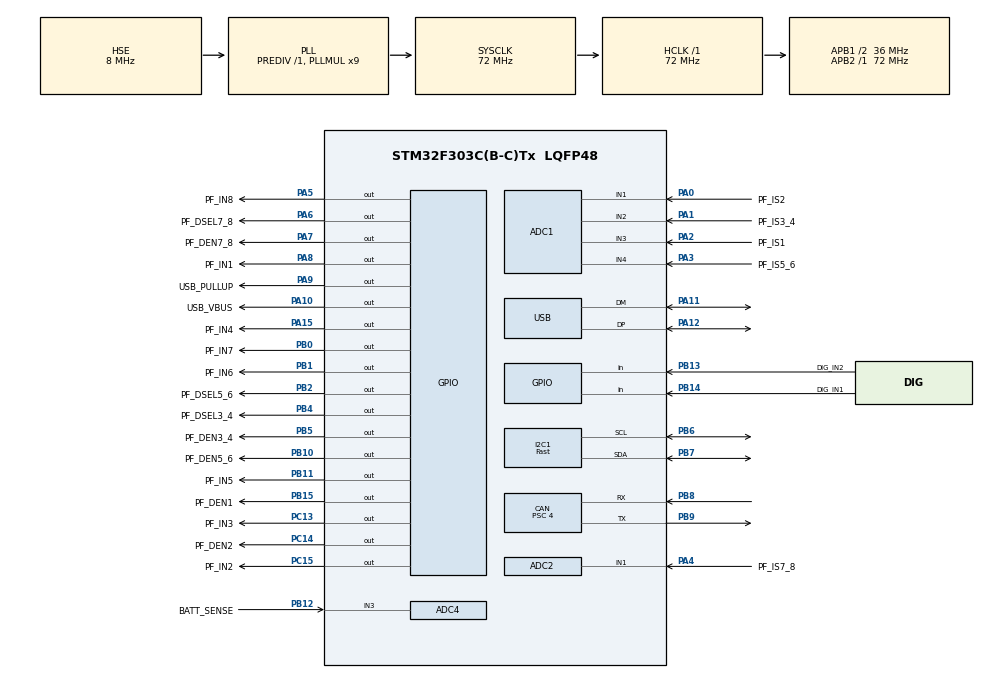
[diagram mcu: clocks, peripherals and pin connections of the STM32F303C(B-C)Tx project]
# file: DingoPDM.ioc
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ADC1.Channel-0\#ChannelRegularConversion=ADC_CHANNEL_1
ADC1.Channel-1\#ChannelRegularConversion=ADC_CHANNEL_2
ADC1.Channel-2\#ChannelRegularConversion=ADC_CHANNEL_3
ADC1.Channel-3\#ChannelRegularConversion=ADC_CHANNEL_TEMPSENSOR
ADC1.Channel-4\#ChannelRegularConversion=ADC_CHANNEL_VREFINT
ADC1.ClockPrescaler=ADC_CLOCK_SYNC_PCLK_DIV4
ADC1.ContinuousConvMode=ENABLE
ADC1.DMAContinuousRequests=ENABLE
ADC1.NbrOfConversion=5
ADC1.NbrOfConversionFlag=1
ADC1.Offset-0\#ChannelRegularConversion=0
ADC1.Offset-1\#ChannelRegularConversion=0
ADC1.Offset-2\#ChannelRegularConversion=0
ADC1.Offset-3\#ChannelRegularConversion=0
ADC1.Offset-4\#ChannelRegularConversion=0
ADC1.OffsetNumber-0\#ChannelRegularConversion=ADC_OFFSET_NONE
ADC1.OffsetNumber-1\#ChannelRegularConversion=ADC_OFFSET_NONE
ADC1.OffsetNumber-2\#ChannelRegularConversion=ADC_OFFSET_NONE
ADC1.OffsetNumber-3\#ChannelRegularConversion=ADC_OFFSET_NONE
ADC1.OffsetNumber-4\#ChannelRegularConversion=ADC_OFFSET_NONE
ADC1.Rank-0\#ChannelRegularConversion=1
ADC1.Rank-1\#ChannelRegularConversion=2
ADC1.Rank-2\#ChannelRegularConversion=3
ADC1.Rank-3\#ChannelRegularConversion=4
ADC1.Rank-4\#ChannelRegularConversion=5
ADC1.SamplingTime-0\#ChannelRegularConversion=ADC_SAMPLETIME_61CYCLES_5
ADC1.SamplingTime-1\#ChannelRegularConversion=ADC_SAMPLETIME_61CYCLES_5
ADC1.SamplingTime-2\#ChannelRegularConversion=ADC_SAMPLETIME_61CYCLES_5
ADC1.SamplingTime-3\#ChannelRegularConversion=ADC_SAMPLETIME_61CYCLES_5
ADC1.SamplingTime-4\#ChannelRegularConversion=ADC_SAMPLETIME_61CYCLES_5
ADC1.master=1
ADC2.Channel-0\#ChannelRegularConversion=ADC_CHANNEL_1
ADC2.ClockPrescaler=ADC_CLOCK_SYNC_PCLK_DIV4
ADC2.ContinuousConvMode=ENABLE
ADC2.DMAContinuousRequests=ENABLE
ADC2.NbrOfConversionFlag=1
ADC2.Offset-0\#ChannelRegularConversion=0
ADC2.OffsetNumber-0\#ChannelRegularConversion=ADC_OFFSET_NONE
ADC2.Rank-0\#ChannelRegularConversion=1
ADC2.SamplingTime-0\#ChannelRegularConversion=ADC_SAMPLETIME_61CYCLES_5
ADC2.SamplingTimeOPAMP-0\#ChannelRegularConversion=ADC_SAMPLETIME_7CYCLES_5
ADC4.Channel-0\#ChannelRegularConversion=ADC_CHANNEL_3
ADC4.ClockPrescaler=ADC_CLOCK_SYNC_PCLK_DIV4
ADC4.ContinuousConvMode=ENABLE
ADC4.DMAContinuousRequests=ENABLE
ADC4.NbrOfConversionFlag=1
ADC4.Offset-0\#ChannelRegularConversion=0
ADC4.OffsetNumber-0\#ChannelRegularConversion=ADC_OFFSET_NONE
ADC4.Rank-0\#ChannelRegularConversion=1
ADC4.SamplingTime-0\#ChannelRegularConversion=ADC_SAMPLETIME_601CYCLES_5
ADC4.SamplingTimeOPAMP-0\#ChannelRegularConversion=ADC_SAMPLETIME_4CYCLES_5
CAN.BS1=CAN_BS1_15TQ
CAN.BS2=CAN_BS2_2TQ
CAN.CalculateBaudRate=500000
CAN.CalculateTimeBit=2000
CAN.CalculateTimeQuantum=111.11111111111111
CAN.Prescaler=4
CAN.SJW=CAN_SJW_1TQ
Dma.ADC1.0.Direction=DMA_PERIPH_TO_MEMORY
Dma.ADC1.0.Instance=DMA1_Channel1
Dma.ADC1.0.MemDataAlignment=DMA_MDATAALIGN_HALFWORD
Dma.ADC1.0.MemInc=DMA_MINC_ENABLE
Dma.ADC1.0.Mode=DMA_CIRCULAR
Dma.ADC1.0.PeriphDataAlignment=DMA_PDATAALIGN_HALFWORD
Dma.ADC1.0.PeriphInc=DMA_PINC_DISABLE
Dma.ADC1.0.Priority=DMA_PRIORITY_LOW
Dma.ADC2.2.Direction=DMA_PERIPH_TO_MEMORY
Dma.ADC2.2.Instance=DMA2_Channel1
Dma.ADC2.2.MemDataAlignment=DMA_MDATAALIGN_HALFWORD
Dma.ADC2.2.MemInc=DMA_MINC_ENABLE
Dma.ADC2.2.Mode=DMA_CIRCULAR
Dma.ADC2.2.PeriphDataAlignment=DMA_PDATAALIGN_HALFWORD
Dma.ADC2.2.PeriphInc=DMA_PINC_DISABLE
Dma.ADC2.2.Priority=DMA_PRIORITY_LOW
Dma.ADC4.1.Direction=DMA_PERIPH_TO_MEMORY
Dma.ADC4.1.Instance=DMA2_Channel2
Dma.ADC4.1.MemDataAlignment=DMA_MDATAALIGN_HALFWORD
Dma.ADC4.1.MemInc=DMA_MINC_ENABLE
Dma.ADC4.1.Mode=DMA_CIRCULAR
Dma.ADC4.1.PeriphDataAlignment=DMA_PDATAALIGN_HALFWORD
Dma.ADC4.1.PeriphInc=DMA_PINC_DISABLE
Dma.ADC4.1.Priority=DMA_PRIORITY_LOW
Dma.Request0=ADC1
Dma.Request1=ADC4
Dma.Request2=ADC2
FREERTOS.HEAP_NUMBER=1
FREERTOS.Tasks01=defaultTask,24,320,StartDefaultTask,Default,NULL,Dynamic,NULL,NULL;canTxTask,25,320,StartCanTxTask,Default,NULL,Dynamic,NULL,NULL
FREERTOS.Timers01=KickIWDG,KickIWDGCallback,osTimerPeriodic,Default,NULL,Dynamic,NULL
FREERTOS.configTOTAL_HEAP_SIZE=6144
I2C1.Analog_Filter=I2C_ANALOGFILTER_ENABLE
I2C1.I2C_Fall_Time=300
I2C1.I2C_Rise_Time=300
I2C1.I2C_Speed_Mode=I2C_Fast
I2C1.Timing=0x10E8122C
IWDG.Prescaler=IWDG_PRESCALER_16
IWDG.Window=1596
Mcu.Family=STM32F3
Mcu.Name=STM32F303C(B-C)Tx
Mcu.Package=LQFP48
NVIC.DMA1_Channel1_IRQn=true\:5\:0\:false\:false\:true\:true\:false\:true\:true
NVIC.DMA2_Channel1_IRQn=true\:5\:0\:false\:false\:true\:true\:false\:true\:true
NVIC.DMA2_Channel2_IRQn=true\:5\:0\:false\:false\:true\:true\:false\:true\:true
NVIC.PriorityGroup=NVIC_PRIORITYGROUP_4
NVIC.TIM6_DAC_IRQn=true\:15\:0\:false\:false\:true\:false\:false\:true\:true
NVIC.TimeBase=TIM6_DAC_IRQn
NVIC.TimeBaseIP=TIM6
NVIC.USB_LP_CAN_RX0_IRQn=true\:5\:0\:false\:false\:true\:false\:true\:true\:true
NVIC.USB_LP_IRQn=true\:5\:0\:false\:false\:true\:true\:false\:true\:true
PA0.GPIO_Label=PF_IS2
PA0.Mode=IN1-Single-Ended
PA0.Signal=ADC1_IN1
PA1.GPIO_Label=PF_IS3_4
PA1.Mode=IN2-Single-Ended
PA1.Signal=ADC1_IN2
PA10.GPIO_Label=USB_VBUS
PA10.GPIO_PuPd=GPIO_PULLDOWN
PA10.Signal=GPIO_Output
PA11.Mode=Device
PA11.Signal=USB_DM
PA12.Mode=Device
PA12.Signal=USB_DP
PA13.Mode=Trace_Asynchronous_SW
PA13.Signal=SYS_JTMS-SWDIO
PA14.Mode=Trace_Asynchronous_SW
PA14.Signal=SYS_JTCK-SWCLK
PA15.GPIO_Label=PF_IN4
PA15.GPIO_PuPd=GPIO_PULLDOWN
PA15.Signal=GPIO_Output
PA2.GPIO_Label=PF_IS1
PA2.Mode=IN3-Single-Ended
PA2.Signal=ADC1_IN3
PA3.GPIO_Label=PF_IS5_6
PA3.Mode=IN4-Single-Ended
PA3.Signal=ADC1_IN4
PA4.GPIO_Label=PF_IS7_8
PA4.Mode=IN1-Single-Ended
PA4.Signal=ADC2_IN1
PA5.GPIO_Label=PF_IN8
PA5.GPIO_PuPd=GPIO_PULLDOWN
PA5.Signal=GPIO_Output
PA6.GPIO_Label=PF_DSEL7_8
PA6.GPIO_PuPd=GPIO_PULLDOWN
PA6.Signal=GPIO_Output
PA7.GPIO_Label=PF_DEN7_8
PA7.GPIO_PuPd=GPIO_PULLDOWN
PA7.Signal=GPIO_Output
PA8.GPIO_Label=PF_IN1
PA8.Signal=GPIO_Output
PA9.GPIO_Label=USB_PULLUP
PA9.GPIO_PuPd=GPIO_PULLDOWN
PA9.Signal=GPIO_Output
PB0.GPIO_Label=PF_IN7
PB0.GPIO_PuPd=GPIO_PULLDOWN
PB0.Signal=GPIO_Output
PB1.GPIO_Label=PF_IN6
PB1.GPIO_PuPd=GPIO_PULLDOWN
PB1.Signal=GPIO_Output
PB10.GPIO_Label=PF_DEN5_6
PB10.GPIO_PuPd=GPIO_PULLDOWN
PB10.Signal=GPIO_Output
PB11.GPIO_Label=PF_IN5
PB11.GPIO_PuPd=GPIO_PULLDOWN
PB11.Signal=GPIO_Output
PB12.GPIO_Label=BATT_SENSE
PB12.Mode=IN3-Single-Ended
PB12.Signal=ADC4_IN3
PB13.GPIO_Label=DIG_IN2
PB13.GPIO_PuPd=GPIO_PULLUP
PB13.Signal=GPIO_Input
PB14.GPIO_Label=DIG_IN1
PB14.GPIO_PuPd=GPIO_PULLUP
PB14.Signal=GPIO_Input
PB15.GPIO_Label=PF_DEN1
PB15.GPIO_PuPd=GPIO_PULLDOWN
PB15.Signal=GPIO_Output
PB2.GPIO_Label=PF_DSEL5_6
PB2.GPIO_PuPd=GPIO_PULLDOWN
PB2.Signal=GPIO_Output
PB3.Mode=Trace_Asynchronous_SW
PB3.Signal=SYS_JTDO-TRACESWO
PB4.GPIO_Label=PF_DSEL3_4
PB4.GPIO_PuPd=GPIO_PULLDOWN
PB4.Signal=GPIO_Output
PB5.GPIO_Label=PF_DEN3_4
PB5.GPIO_PuPd=GPIO_PULLDOWN
PB5.Signal=GPIO_Output
PB6.GPIO_Pu=GPIO_PULLUP
PB6.Mode=I2C
PB6.Signal=I2C1_SCL
PB7.GPIO_Pu=GPIO_PULLUP
PB7.Mode=I2C
PB7.Signal=I2C1_SDA
PB8.Mode=CAN_Activate
PB8.Signal=CAN_RX
PB9.Mode=CAN_Activate
PB9.Signal=CAN_TX
PC13.GPIO_Label=PF_IN3
PC13.GPIO_PuPd=GPIO_PULLDOWN
PC13.Signal=GPIO_Output
PC14-OSC32_IN.GPIO_Label=PF_DEN2
PC14-OSC32_IN.GPIO_PuPd=GPIO_PULLDOWN
PC14-OSC32_IN.Signal=GPIO_Output
PC15-OSC32_OUT.GPIO_Label=PF_IN2
PC15-OSC32_OUT.GPIO_PuPd=GPIO_NOPULL
PC15-OSC32_OUT.Signal=GPIO_Output
PF0-OSC_IN.Mode=HSE-External-Oscillator
PF0-OSC_IN.Signal=RCC_OSC_IN
PF1-OSC_OUT.Mode=HSE-External-Oscillator
PF1-OSC_OUT.Signal=RCC_OSC_OUT
ProjectManager.HeapSize=0x200
ProjectManager.StackSize=0x400
ProjectManager.TargetToolchain=STM32CubeIDE
RCC.AHBFreq_Value=72000000
RCC.APB1CLKDivider=RCC_HCLK_DIV2
RCC.APB1Freq_Value=36000000
RCC.APB1TimFreq_Value=72000000
RCC.APB2Freq_Value=72000000
RCC.APB2TimFreq_Value=72000000
RCC.CortexFreq_Value=72000000
RCC.HCLKFreq_Value=72000000
RCC.HSE_VALUE=8000000
RCC.HSI_VALUE=8000000
RCC.I2c1ClockSelection=RCC_I2C1CLKSOURCE_SYSCLK
RCC.I2c2ClockSelection=RCC_I2C2CLKSOURCE_SYSCLK
RCC.LSE_VALUE=32768
RCC.PLLMUL=RCC_PLL_MUL9
RCC.PRESCALERUSB=RCC_USBCLKSOURCE_PLL_DIV1_5
RCC.RCC_MCOSource=RCC_MCO1SOURCE_HSE
RCC.RTCClockSelection=RCC_RTCCLKSOURCE_LSE
RCC.SYSCLKFreq_VALUE=72000000
RCC.SYSCLKSourceVirtual=RCC_SYSCLKSOURCE_PLLCLK
RCC.USBFreq_Value=48000000
USB_DEVICE.CLASS_NAME_FS=CDC
USB_DEVICE.VirtualMode=Cdc
USB_DEVICE.VirtualModeFS=Cdc_FS
VP_ADC1_TempSens_Input.Mode=IN-TempSens
VP_ADC1_Vref_Input.Mode=IN-Vrefint
VP_CRC_VS_CRC.Mode=CRC_Activate
VP_FREERTOS_VS_CMSIS_V2.Mode=CMSIS_V2
VP_IWDG_VS_IWDG.Mode=IWDG_Activate
VP_SYS_VS_tim6.Mode=TIM6
VP_USB_DEVICE_VS_USB_DEVICE_CDC_FS.Mode=CDC_FS
board=custom

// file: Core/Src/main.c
/* USER CODE BEGIN Header */
/**
  ******************************************************************************
  * @file           : main.c
  * @brief          : Main program body
  ******************************************************************************
  * @attention
  *
  * <h2><center>&copy; Copyright (c) 2020 STMicroelectronics.
  * All rights reserved.</center></h2>
  *
  * This software component is licensed by ST under Ultimate Liberty license
  * SLA0044, the "License"; You may not use this file except in compliance with
  * the License. You may obtain a copy of the License at:
  *                             www.st.com/SLA0044
  *
  ******************************************************************************
  */
/* USER CODE END Header */
#include "main.h"
#include "cmsis_os.h"
#include "adc.h"
#include "can.h"
#include "crc.h"
#include "dma.h"
#include "i2c.h"
#include "iwdg.h"
#include "usb_device.h"
#include "gpio.h"

void SystemClock_Config(void);
void MX_FREERTOS_Init(void);
/* USER CODE BEGIN PFP */
#if( configGENERATE_RUN_TIME_STATS == 1)
void IncrementRuntimeStats(void);
#endif
/* USER CODE END PFP */

int main(void)
{

  /* MCU Configuration--------------------------------------------------------*/

  /* Reset of all peripherals, Initializes the Flash interface and the Systick. */
  HAL_Init();

  /* Configure the system clock */
  SystemClock_Config();

  /* Initialize all configured peripherals */
  MX_GPIO_Init();
  MX_DMA_Init();
  MX_ADC4_Init();
  MX_CAN_Init();
  MX_I2C1_Init();
  MX_ADC1_Init();
  MX_ADC2_Init();
  MX_CRC_Init();

  /* Init scheduler */
  osKernelInitialize();  /* Call init function for freertos objects (in freertos.c) */
  MX_FREERTOS_Init();

  /* Start scheduler */
  osKernelStart();

  /* We should never get here as control is now taken by the scheduler */
  /* Infinite loop */
  while (1)
  {

  }
}

void SystemClock_Config(void)
{
  RCC_OscInitTypeDef RCC_OscInitStruct = {0};
  RCC_ClkInitTypeDef RCC_ClkInitStruct = {0};
  RCC_PeriphCLKInitTypeDef PeriphClkInit = {0};

  /** Initializes the RCC Oscillators according to the specified parameters
  * in the RCC_OscInitTypeDef structure.
  */
  RCC_OscInitStruct.OscillatorType = RCC_OSCILLATORTYPE_LSI|RCC_OSCILLATORTYPE_HSE;
  RCC_OscInitStruct.HSEState = RCC_HSE_ON;
  RCC_OscInitStruct.HSEPredivValue = RCC_HSE_PREDIV_DIV1;
  RCC_OscInitStruct.HSIState = RCC_HSI_ON;
  RCC_OscInitStruct.LSIState = RCC_LSI_ON;
  RCC_OscInitStruct.PLL.PLLState = RCC_PLL_ON;
  RCC_OscInitStruct.PLL.PLLSource = RCC_PLLSOURCE_HSE;
  RCC_OscInitStruct.PLL.PLLMUL = RCC_PLL_MUL9;
  if (HAL_RCC_OscConfig(&RCC_OscInitStruct) != HAL_OK)
  {
    Error_Handler();
  }

  /** Initializes the CPU, AHB and APB buses clocks
  */
  RCC_ClkInitStruct.ClockType = RCC_CLOCKTYPE_HCLK|RCC_CLOCKTYPE_SYSCLK
                              |RCC_CLOCKTYPE_PCLK1|RCC_CLOCKTYPE_PCLK2;
  RCC_ClkInitStruct.SYSCLKSource = RCC_SYSCLKSOURCE_PLLCLK;
  RCC_ClkInitStruct.AHBCLKDivider = RCC_SYSCLK_DIV1;
  RCC_ClkInitStruct.APB1CLKDivider = RCC_HCLK_DIV2;
  RCC_ClkInitStruct.APB2CLKDivider = RCC_HCLK_DIV1;

  if (HAL_RCC_ClockConfig(&RCC_ClkInitStruct, FLASH_LATENCY_2) != HAL_OK)
  {
    Error_Handler();
  }
  PeriphClkInit.PeriphClockSelection = RCC_PERIPHCLK_USB|RCC_PERIPHCLK_I2C1;
  PeriphClkInit.I2c1ClockSelection = RCC_I2C1CLKSOURCE_SYSCLK;
  PeriphClkInit.USBClockSelection = RCC_USBCLKSOURCE_PLL_DIV1_5;
  if (HAL_RCCEx_PeriphCLKConfig(&PeriphClkInit) != HAL_OK)
  {
    Error_Handler();
  }
}

void HAL_TIM_PeriodElapsedCallback(TIM_HandleTypeDef *htim)
{
  if (htim->Instance == TIM6) {
    HAL_IncTick();
  }
  /* USER CODE BEGIN Callback 1 */
#if( configGENERATE_RUN_TIME_STATS == 1)
    if (htim->Instance == TIM6) {
      IncrementRuntimeStats();
    }
#endif
  /* USER CODE END Callback 1 */
}

void Error_Handler(void)
{
}

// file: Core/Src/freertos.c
/* USER CODE BEGIN Header */
/**
  ******************************************************************************
  * File Name          : freertos.c
  * Description        : Code for freertos applications
  ******************************************************************************
  * @attention
  *
  * <h2><center>&copy; Copyright (c) 2020 STMicroelectronics.
  * All rights reserved.</center></h2>
  *
  * This software component is licensed by ST under Ultimate Liberty license
  * SLA0044, the "License"; You may not use this file except in compliance with
  * the License. You may obtain a copy of the License at:
  *                             www.st.com/SLA0044
  *
  ******************************************************************************
  */
/* USER CODE END Header */

#include "FreeRTOS.h"
#include "task.h"
#include "main.h"
#include "cmsis_os.h"

/* USER CODE BEGIN Includes */
#include "dingo_pdm.h"
#include "msg_queue.h"
/* USER CODE END Includes */

/* USER CODE BEGIN PD */
#define MSGQUEUE_RX_SIZE 16
#define MSGQUEUE_TX_SIZE 16
/* USER CODE END PD */

/* USER CODE BEGIN Variables */
ADC_HandleTypeDef hadc1;
ADC_HandleTypeDef hadc4;
CAN_HandleTypeDef hcan;
I2C_HandleTypeDef hi2c1;
IWDG_HandleTypeDef hiwdg;

#if( configGENERATE_RUN_TIME_STATS == 1)
  PRIVILEGED_DATA volatile static uint32_t nRunTimeCount = 0UL;
#endif

/* USER CODE END Variables */
/* Definitions for defaultTask */
osThreadId_t defaultTaskHandle;
const osThreadAttr_t defaultTask_attributes = {
  .name = "defaultTask",
  .stack_size = 320 * 4,
  .priority = (osPriority_t) osPriorityAboveNormal,
};
/* Definitions for canTxTask */
osThreadId_t canTxTaskHandle;
const osThreadAttr_t canTxTask_attributes = {
  .name = "canTxTask",
  .stack_size = 320 * 4,
  .priority = (osPriority_t) osPriorityNormal,
};
/* Definitions for KickIWDG */
osTimerId_t KickIWDGHandle;
const osTimerAttr_t KickIWDG_attributes = {
  .name = "KickIWDG"
};

/* USER CODE BEGIN FunctionPrototypes */
void IncrementRuntimeStats(void);
/* USER CODE END FunctionPrototypes */

void StartDefaultTask(void *argument);
void StartCanTxTask(void *argument);
//void KickIWDGCallback(void *argument);

void MX_FREERTOS_Init(void); /* (MISRA C 2004 rule 8.1) */

void MX_FREERTOS_Init(void) {

  /* Create the timer(s) */
  /* creation of KickIWDG */
  //KickIWDGHandle = osTimerNew(KickIWDGCallback, osTimerPeriodic, NULL, &KickIWDG_attributes);

  /* USER CODE BEGIN RTOS_TIMERS */
  /* start timers, add new ones, ... */

  //IWDG resets at 1.6s
  // (Prescaler * (Reload+1)) / (LSI Freq)
  // (16 * 4096) / 40000 = 1.6384s
  // Window is set at 1s
  // Must kick between 1.0s to 1.6s
  //if(osTimerStart(KickIWDGHandle, 1300) != osOK)
  //  Error_Handler();

  /* USER CODE END RTOS_TIMERS */

  /* USER CODE BEGIN RTOS_QUEUES */
  qMsgQueueRx = osMessageQueueNew(MSGQUEUE_RX_SIZE, sizeof(MsgQueueRx_t), NULL);
  if(qMsgQueueRx == NULL){
    //TODO: Message queue not created
    Error_Handler();
  }

  qMsgQueueTx = osMessageQueueNew(MSGQUEUE_TX_SIZE, sizeof(MsgQueueTx_t), NULL);
  if(qMsgQueueTx == NULL){
    //TODO: Message queue not created
    Error_Handler();
  }
  /* USER CODE END RTOS_QUEUES */

  /* Create the thread(s) */
  /* creation of defaultTask */
  defaultTaskHandle = osThreadNew(StartDefaultTask, NULL, &defaultTask_attributes);

  /* creation of canTxTask */
  canTxTaskHandle = osThreadNew(StartCanTxTask, NULL, &canTxTask_attributes);

  /* USER CODE BEGIN RTOS_THREADS */
  /* add threads, ... */
  if(defaultTaskHandle == 0x0)
    Error_Handler();

  if(canTxTaskHandle == 0x0)
    Error_Handler();
  /* USER CODE END RTOS_THREADS */

  /* USER CODE BEGIN RTOS_EVENTS */
  if(InitPdmConfig(&hi2c1) != PDM_OK)
    Error_Handler();
  /* USER CODE END RTOS_THREADS */

}

void StartDefaultTask(void *argument)
{
  /* USER CODE BEGIN StartDefaultTask */
  PdmMainTask(&defaultTaskHandle, &hadc1, &hadc4, &hi2c1);
  /* USER CODE END StartDefaultTask */
}

void StartCanTxTask(void *argument)
{
  /* USER CODE BEGIN StartCanTxTask */
  CanTxTask(&canTxTaskHandle, &hcan);
  /* USER CODE END StartCanTxTask */
}

/* KickIWDGCallback function */
void KickIWDGCallback(void *argument)
{
  /* USER CODE BEGIN KickIWDGCallback */
  HAL_IWDG_Refresh(&hiwdg);
  /* USER CODE END KickIWDGCallback */
}

/* USER CODE BEGIN Application */
#if( configGENERATE_RUN_TIME_STATS == 1)
void ConfigureRunTimeCounter(void);
uint32_t GetRunTimeCounter(void);

void ConfigureRunTimeCounter(void)
{
  nRunTimeCount = 0;
}

uint32_t GetRunTimeCounter(void)
{
  return nRunTimeCount;
}

void IncrementRuntimeStats(void)
{
  nRunTimeCount = nRunTimeCount + 1;
}
#endif
/* USER CODE END Application */
